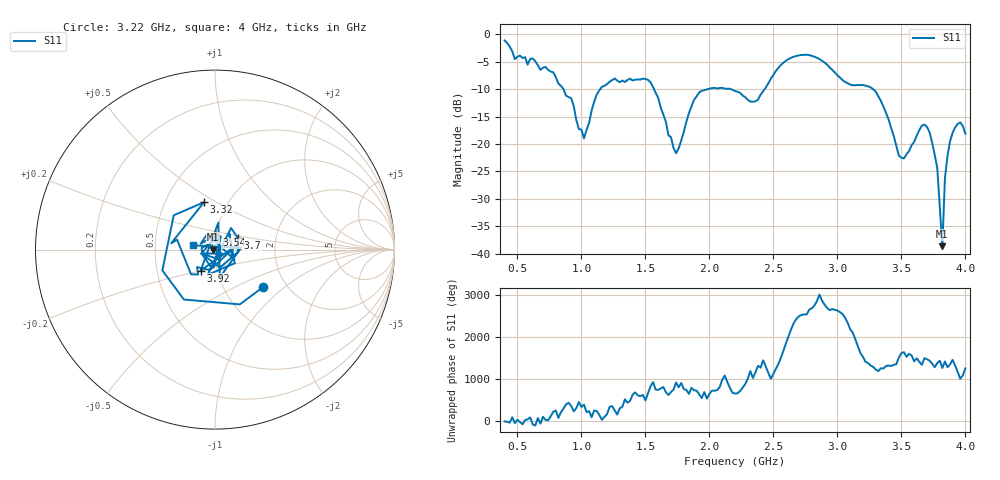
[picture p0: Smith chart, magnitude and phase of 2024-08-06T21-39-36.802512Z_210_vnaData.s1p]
!Created with skrf (http://scikit-rf.org).
# Hz S RI R 50.0
!freq ReS11 ImS11
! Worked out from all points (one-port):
!   181 points, 400 MHz to 4 GHz, reference 50 ohm
!   lowest |S11| = -38.6 dB at 3.82 GHz (marker M1), VSWR 1.02, Z = 48.8 + j0.0495 ohm
!   |S11| at or under -10 dB: 859.9 MHz to 1.148 GHz (287.7 MHz wide, 28.7 % of centre); 1.567 GHz to 1.989 GHz (422 MHz wide, 23.7 % of centre); 3.278 GHz to end of sweep (the widest 3 of 4)
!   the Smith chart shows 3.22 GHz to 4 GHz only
!   S11 on the Smith chart (normalised r, x): 3.22 GHz: 1.53, -0.72; 3.32 GHz: 0.77, +0.44; 3.54 GHz: 1.00, +0.16; 3.7 GHz: 1.28, +0.17; 3.92 GHz: 0.83, -0.20; 4 GHz: 0.78, +0.04
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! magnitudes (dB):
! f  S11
! 400 MHz  -1.1
! 480 MHz  -4.6
! 620 MHz  -4.4
! 860 MHz  -10.0
! 1.02 GHz  -19.0
! 1.12 GHz  -11.0
! 1.3 GHz  -8.7
! 1.54 GHz  -8.8
! 1.72 GHz  -20.8
! 1.76 GHz  -20.8
! 1.92 GHz  -10.6
! 2.2 GHz  -10.3
! 2.36 GHz  -12.2
! 2.66 GHz  -4.1
! 2.84 GHz  -4.3
! 3.1 GHz  -9.2
! 3.22 GHz  -9.4
! 3.32 GHz  -11.3
! 3.48 GHz  -22.1
! 3.54 GHz  -21.9
! 3.56 GHz  -21.3
! 3.7 GHz  -16.9
! 3.78 GHz  -24.3
! 3.82 GHz  -38.6
! 3.84 GHz  -26.3
! 3.88 GHz  -19.5
! 3.92 GHz  -17.0
! 4 GHz  -18.1
